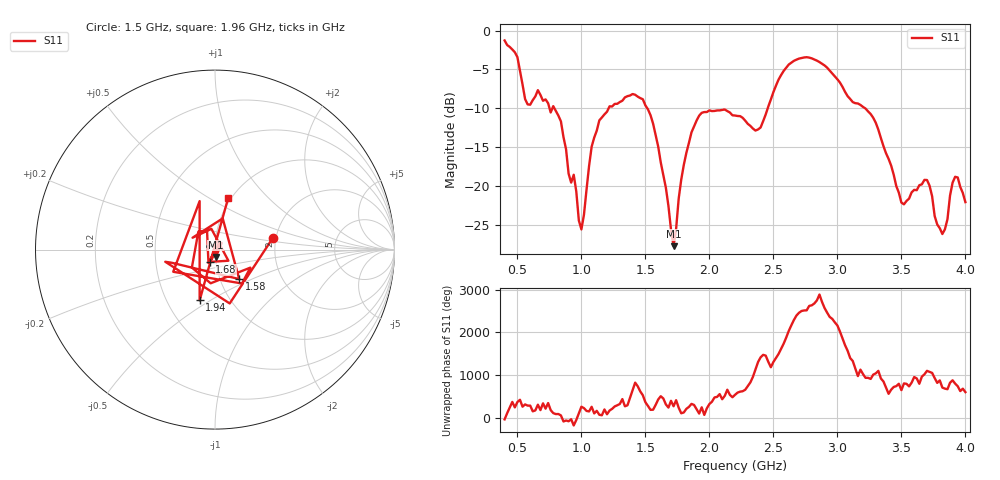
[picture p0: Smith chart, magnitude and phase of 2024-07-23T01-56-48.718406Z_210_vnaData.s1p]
!Created with skrf (http://scikit-rf.org).
# Hz S RI R 50.0
!freq ReS11 ImS11
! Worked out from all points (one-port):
!   181 points, 400 MHz to 4 GHz, reference 50 ohm
!   lowest |S11| = -27.8 dB at 1.72 GHz (marker M1), VSWR 1.09, Z = 50.4 - j4.09 ohm
!   |S11| at or under -10 dB: 789 MHz to 1.213 GHz (424 MHz wide, 42.4 % of centre); 1.514 GHz to 2.456 GHz (941.5 MHz wide, 47.4 % of centre); 3.216 GHz to end of sweep (the widest 3 of 4)
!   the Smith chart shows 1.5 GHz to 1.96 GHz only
!   S11 on the Smith chart (normalised r, x): 1.5 GHz: 1.93, +0.29; 1.58 GHz: 1.23, -0.42; 1.68 GHz: 0.94, -0.13; 1.94 GHz: 0.73, -0.45; 1.96 GHz: 0.97, +0.62
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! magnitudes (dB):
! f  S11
! 400 MHz  -1.3
! 500 MHz  -3.4
! 580 MHz  -9.5
! 660 MHz  -7.7
! 860 MHz  -13.7
! 1 GHz  -25.6
! 1.08 GHz  -15.0
! 1.14 GHz  -11.6
! 1.3 GHz  -9.2
! 1.5 GHz  -9.6
! 1.58 GHz  -13.5
! 1.68 GHz  -22.6
! 1.72 GHz  -27.8
! 1.76 GHz  -21.7
! 1.86 GHz  -13.1
! 1.94 GHz  -10.6
! 1.96 GHz  -10.5
! 2.2 GHz  -10.9
! 2.4 GHz  -12.5
! 2.66 GHz  -3.9
! 3.1 GHz  -8.8
! 3.28 GHz  -11.2
! 3.5 GHz  -22.2
! 3.56 GHz  -21.6
! 3.7 GHz  -19.3
! 3.82 GHz  -26.2
! 3.92 GHz  -18.8
! 4 GHz  -22.1
